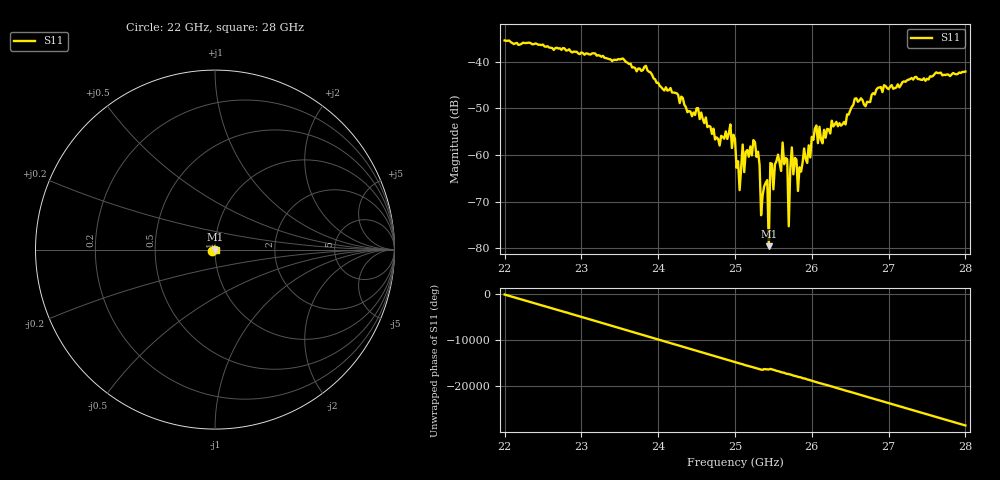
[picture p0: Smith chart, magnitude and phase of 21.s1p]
#  HZ  S  RI  R  50.00
! Rohde & Schwarz ZVA40 4Ports - Version 3.90 - 1145.1110k42 SN: 100403
! Date: 2023-10-04 08:36:57
! Measurement: S12
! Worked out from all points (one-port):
!   301 points, 22 GHz to 28 GHz, reference 50 ohm
!   lowest |S11| = -79.6 dB at 25.44 GHz (marker M1), VSWR 1.00, Z = 50 - j0.00336 ohm
!   |S11| at or under -10 dB: start of sweep to end of sweep
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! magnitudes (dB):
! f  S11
! 22 GHz  -35.4
! 22.76 GHz  -37.0
! 23.5 GHz  -39.5
! 24.26 GHz  -47.1
! 25 GHz  -56.6
! 25.06 GHz  -67.5
! 25.1 GHz  -57.8
! 25.12 GHz  -63.7
! 25.24 GHz  -56.8
! 25.32 GHz  -62.1
! 25.34 GHz  -72.9
! 25.42 GHz  -65.4
! 25.44 GHz  -79.6
! 25.46 GHz  -61.7
! 25.5 GHz  -67.4
! 25.56 GHz  -59.9
! 25.6 GHz  -63.4
! 25.62 GHz  -57.3
! 25.68 GHz  -60.9
! 25.7 GHz  -75.3
! 25.74 GHz  -58.4
! 25.76 GHz  -64.2
! 25.8 GHz  -61.0
! 25.82 GHz  -67.7
! 26.06 GHz  -53.7
! 26.5 GHz  -50.4
! 27.26 GHz  -43.8
! 28 GHz  -42.1
